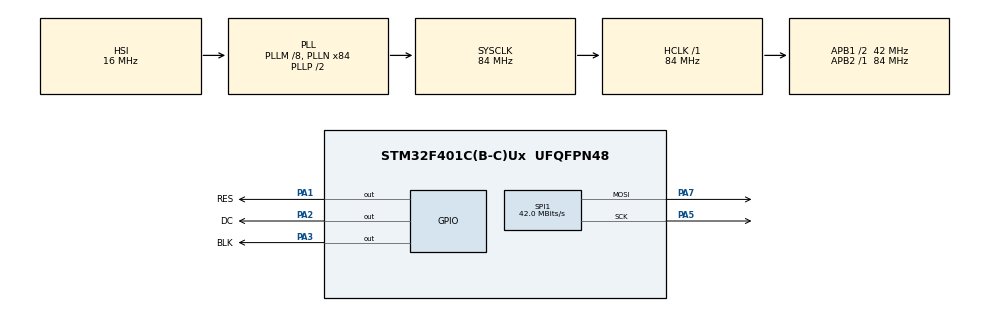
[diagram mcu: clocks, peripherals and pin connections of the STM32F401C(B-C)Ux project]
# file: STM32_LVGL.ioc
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Dma.Request0=SPI1_TX
Dma.SPI1_TX.0.Direction=DMA_MEMORY_TO_PERIPH
Dma.SPI1_TX.0.FIFOMode=DMA_FIFOMODE_DISABLE
Dma.SPI1_TX.0.Instance=DMA2_Stream3
Dma.SPI1_TX.0.MemDataAlignment=DMA_MDATAALIGN_BYTE
Dma.SPI1_TX.0.MemInc=DMA_MINC_ENABLE
Dma.SPI1_TX.0.Mode=DMA_NORMAL
Dma.SPI1_TX.0.PeriphDataAlignment=DMA_PDATAALIGN_BYTE
Dma.SPI1_TX.0.PeriphInc=DMA_PINC_DISABLE
Dma.SPI1_TX.0.Priority=DMA_PRIORITY_LOW
Mcu.Family=STM32F4
Mcu.Name=STM32F401C(B-C)Ux
Mcu.Package=UFQFPN48
NVIC.DMA2_Stream3_IRQn=true\:0\:0\:false\:false\:true\:false\:true
NVIC.PriorityGroup=NVIC_PRIORITYGROUP_4
PA1.GPIO_Label=RES
PA1.GPIO_PuPd=GPIO_PULLUP
PA1.GPIO_Speed=GPIO_SPEED_FREQ_HIGH
PA1.PinState=GPIO_PIN_SET
PA1.Signal=GPIO_Output
PA2.GPIO_Label=DC
PA2.GPIO_ModeDefaultOutputPP=GPIO_MODE_OUTPUT_PP
PA2.GPIO_PuPd=GPIO_PULLUP
PA2.GPIO_Speed=GPIO_SPEED_FREQ_HIGH
PA2.PinState=GPIO_PIN_SET
PA2.Signal=GPIO_Output
PA3.GPIO_Label=BLK
PA3.GPIO_ModeDefaultOutputPP=GPIO_MODE_OUTPUT_PP
PA3.GPIO_PuPd=GPIO_PULLUP
PA3.GPIO_Speed=GPIO_SPEED_FREQ_HIGH
PA3.PinState=GPIO_PIN_SET
PA3.Signal=GPIO_Output
PA5.Mode=TX_Only_Simplex_Unidirect_Master
PA5.Signal=SPI1_SCK
PA7.Mode=TX_Only_Simplex_Unidirect_Master
PA7.Signal=SPI1_MOSI
PH0\ -\ OSC_IN.Mode=HSE-External-Oscillator
PH0\ -\ OSC_IN.Signal=RCC_OSC_IN
PH1\ -\ OSC_OUT.Mode=HSE-External-Oscillator
PH1\ -\ OSC_OUT.Signal=RCC_OSC_OUT
ProjectManager.HeapSize=0x200
ProjectManager.StackSize=0x400
ProjectManager.TargetToolchain=MDK-ARM V5.27
RCC.48MHZClocksFreq_Value=42000000
RCC.AHBFreq_Value=84000000
RCC.APB1CLKDivider=RCC_HCLK_DIV2
RCC.APB1Freq_Value=42000000
RCC.APB1TimFreq_Value=84000000
RCC.APB2Freq_Value=84000000
RCC.APB2TimFreq_Value=84000000
RCC.CortexFreq_Value=84000000
RCC.HCLKFreq_Value=84000000
RCC.HSE_VALUE=25000000
RCC.HSI_VALUE=16000000
RCC.LSE_VALUE=32768
RCC.PLLM=8
RCC.PLLN=84
RCC.SYSCLKFreq_VALUE=84000000
RCC.SYSCLKSource=RCC_SYSCLKSOURCE_PLLCLK
RCC.VCOOutputFreq_Value=168000000
SPI1.BaudRatePrescaler=SPI_BAUDRATEPRESCALER_2
SPI1.CalculateBaudRate=42.0 MBits/s
SPI1.DataSize=SPI_DATASIZE_8BIT
SPI1.Direction=SPI_DIRECTION_2LINES
SPI1.Mode=SPI_MODE_MASTER
SPI1.VirtualType=VM_MASTER
board=custom

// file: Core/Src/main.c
/* USER CODE BEGIN Header */
/**
  ******************************************************************************
  * @file           : main.c
  * @brief          : Main program body
  ******************************************************************************
  * @attention
  *
  * <h2><center>&copy; Copyright (c) 2021 STMicroelectronics.
  * All rights reserved.</center></h2>
  *
  * This software component is licensed by ST under BSD 3-Clause license,
  * the "License"; You may not use this file except in compliance with the
  * License. You may obtain a copy of the License at:
  *                        opensource.org/licenses/BSD-3-Clause
  *
  ******************************************************************************
  */
/* USER CODE END Header */
#include "main.h"
#include "dma.h"
#include "spi.h"
#include "gpio.h"

/* USER CODE BEGIN Includes */
#include "ST7789.h"
#include "lvgl/lvgl.h"
/* USER CODE END Includes */

void SystemClock_Config(void);
/* USER CODE BEGIN PFP */
void lv_port_disp_init(void);
static void lv_ex_label_1(void)
{
		lv_obj_t* scr=lv_scr_act();
		lv_obj_set_style_local_bg_color(scr,LV_OBJ_PART_MAIN, LV_STATE_DEFAULT,LV_COLOR_BLACK);
	  static lv_obj_t * img_bg = NULL;
    LV_IMG_DECLARE(baijia);
    img_bg = lv_img_create(scr,NULL);
    lv_img_set_src(img_bg,&baijia);
    lv_obj_align(img_bg,NULL,LV_ALIGN_CENTER,0,0);
	  lv_obj_t * label2 = lv_label_create(img_bg, NULL);
    lv_label_set_recolor(label2, true);
    lv_label_set_long_mode(label2, LV_LABEL_LONG_SROLL_CIRC); /*Circular scroll*/
    lv_obj_set_width(label2, 120);
	  lv_label_set_text(label2, "#ff0000 Hello# #00ff00 world ! Trisuborn.#");
    lv_obj_align(label2, NULL, LV_ALIGN_CENTER, 0, 0);
    lv_obj_set_style_local_bg_color(scr,LV_OBJ_PART_MAIN, LV_STATE_DEFAULT,LV_COLOR_BLACK);
}
/* USER CODE END PFP */

int main(void)
{

  /* MCU Configuration--------------------------------------------------------*/

  /* Reset of all peripherals, Initializes the Flash interface and the Systick. */
  HAL_Init();

  /* Configure the system clock */
  SystemClock_Config();

  /* Initialize all configured peripherals */
  MX_GPIO_Init();
  MX_DMA_Init();
  MX_SPI1_Init();
  /* USER CODE BEGIN 2 */
	lv_init();
  lv_port_disp_init();
	lv_ex_label_1();
	///please pay attition 		lv_tick_inc(LVGL_TICK); lv_task_handler(); setting
  /* USER CODE END 2 */

  /* Infinite loop */
  while (1)
  {
    lv_task_handler();
  }
}

void SystemClock_Config(void)
{
  RCC_OscInitTypeDef RCC_OscInitStruct = {0};
  RCC_ClkInitTypeDef RCC_ClkInitStruct = {0};

  /** Configure the main internal regulator output voltage
  */
  __HAL_RCC_PWR_CLK_ENABLE();
  __HAL_PWR_VOLTAGESCALING_CONFIG(PWR_REGULATOR_VOLTAGE_SCALE2);
  /** Initializes the RCC Oscillators according to the specified parameters
  * in the RCC_OscInitTypeDef structure.
  */
  RCC_OscInitStruct.OscillatorType = RCC_OSCILLATORTYPE_HSI;
  RCC_OscInitStruct.HSIState = RCC_HSI_ON;
  RCC_OscInitStruct.HSICalibrationValue = RCC_HSICALIBRATION_DEFAULT;
  RCC_OscInitStruct.PLL.PLLState = RCC_PLL_ON;
  RCC_OscInitStruct.PLL.PLLSource = RCC_PLLSOURCE_HSI;
  RCC_OscInitStruct.PLL.PLLM = 8;
  RCC_OscInitStruct.PLL.PLLN = 84;
  RCC_OscInitStruct.PLL.PLLP = RCC_PLLP_DIV2;
  RCC_OscInitStruct.PLL.PLLQ = 4;
  if (HAL_RCC_OscConfig(&RCC_OscInitStruct) != HAL_OK)
  {
    Error_Handler();
  }
  /** Initializes the CPU, AHB and APB buses clocks
  */
  RCC_ClkInitStruct.ClockType = RCC_CLOCKTYPE_HCLK|RCC_CLOCKTYPE_SYSCLK
                              |RCC_CLOCKTYPE_PCLK1|RCC_CLOCKTYPE_PCLK2;
  RCC_ClkInitStruct.SYSCLKSource = RCC_SYSCLKSOURCE_PLLCLK;
  RCC_ClkInitStruct.AHBCLKDivider = RCC_SYSCLK_DIV1;
  RCC_ClkInitStruct.APB1CLKDivider = RCC_HCLK_DIV2;
  RCC_ClkInitStruct.APB2CLKDivider = RCC_HCLK_DIV1;

  if (HAL_RCC_ClockConfig(&RCC_ClkInitStruct, FLASH_LATENCY_2) != HAL_OK)
  {
    Error_Handler();
  }
}

void Error_Handler(void)
{
  __disable_irq();
  while (1)
  {
  }
}

/************************ (C) COPYRIGHT STMicroelectronics *****END OF FILE****/
